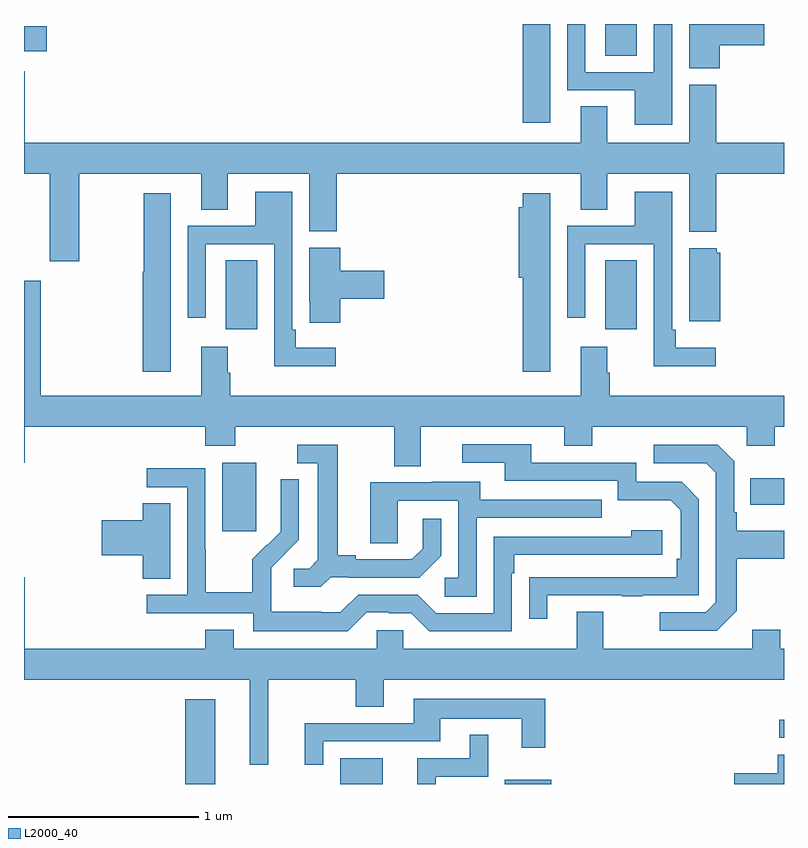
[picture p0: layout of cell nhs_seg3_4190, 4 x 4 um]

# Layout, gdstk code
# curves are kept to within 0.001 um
import gdstk
lib = gdstk.Library(unit=1e-6, precision=1e-09)
def R(c, l, rs):  # rectangles x0, y0, x1, y1
    for r in rs: c.add(gdstk.rectangle(r[:2], r[2:], *l))
def P(c, l, *ps):  # polygons
    for p in ps: c.add(gdstk.Polygon(p, *l))
L2000_40 = (2000, 40)

nhs_seg3_4190 = lib.new_cell('nhs_seg3_4190')
R(nhs_seg3_4190, L2000_40, [(333.848,668.4,334.006,668.845), (334.664,668.4,334.888,668.536), (335.531,668.4,335.776,668.422), (336.975,668.643,337,668.739), (334.043,669.729,334.222,670.09), (336.823,669.869,337,670.009), (334.061,670.794,334.228,671.156), (336.059,670.794,336.226,671.156), (335.624,671.88,335.77,672.4), (336.059,672.232,336.226,672.4), (333,672.257,333.121,672.387)])
P(nhs_seg3_4190, L2000_40, [(336.411,672.4),(336.315,672.4),(336.315,672.147),(335.955,672.147),(335.955,672.4),(335.859,672.4),(335.859,672.051),(336.215,672.051),(336.215,671.87),(336.411,671.87)],
  [(336.662,672.287),(336.895,672.287),(336.895,672.4),(336.5,672.4),(336.5,672.166),(336.662,672.166)],
  [(333.291,671.612),(333.932,671.612),(333.932,671.422),(334.072,671.422),(334.072,671.612),(334.502,671.612),(334.502,671.308),(334.646,671.308),(334.646,671.612),(335.93,671.612),(335.93,671.422),(336.07,671.422),(336.07,671.612),(336.5,671.612),(336.5,671.306),(336.644,671.306),(336.644,671.612),(337,671.612),(337,671.776),(336.644,671.776),(336.644,672.081),(336.5,672.081),(336.5,671.776),(336.07,671.776),(336.07,671.966),(335.93,671.966),(335.93,671.776),(333.004,671.776),(333.004,672.151),(333,672.151),(333,671.612),(333.136,671.612),(333.136,671.151),(333.291,671.151)],
  [(334.642,670.696),(334.429,670.696),(334.429,670.792),(334.413,670.792),(334.413,671.518),(334.217,671.518),(334.217,671.337),(333.861,671.337),(333.861,670.854),(333.957,670.854),(333.957,671.241),(334.317,671.241),(334.317,670.598),(334.642,670.598)],
  [(336.64,670.696),(336.431,670.696),(336.431,670.792),(336.411,670.792),(336.411,671.518),(336.215,671.518),(336.215,671.337),(335.859,671.337),(335.859,670.854),(335.955,670.854),(335.955,671.241),(336.315,671.241),(336.315,670.598),(336.64,670.598)],
  [(333.772,671.509),(333.631,671.509),(333.631,671.096),(333.626,671.096),(333.626,670.569),(333.772,670.569)],
  [(335.77,671.509),(335.624,671.509),(335.624,671.436),(335.603,671.436),(335.603,671.064),(335.624,671.064),(335.624,670.569),(335.77,670.569)],
  [(334.664,670.955),(334.897,670.955),(334.897,671.102),(334.664,671.102),(334.664,671.223),(334.502,671.223),(334.502,670.939),(334.503,670.939),(334.503,670.827),(334.664,670.827)],
  [(336.664,671.196),(336.645,671.196),(336.645,671.221),(336.5,671.221),(336.5,670.835),(336.664,670.835)],
  [(335.089,670.28),(335.843,670.28),(335.843,670.181),(335.991,670.181),(335.991,670.28),(336.804,670.28),(336.804,670.181),(336.951,670.181),(336.951,670.28),(337,670.28),(337,670.444),(336.083,670.444),(336.083,670.565),(336.07,670.565),(336.07,670.702),(335.93,670.702),(335.93,670.444),(334.085,670.444),(334.085,670.565),(334.072,670.565),(334.072,670.702),(333.932,670.702),(333.932,670.444),(333.088,670.444),(333.088,671.05),(333,671.05),(333,670.092),(333.004,670.092),(333.004,670.28),(333.953,670.28),(333.953,670.181),(334.113,670.181),(334.113,670.28),(334.949,670.28),(334.949,670.072),(335.089,670.072)],
  [(335.755,669.393),(336.145,669.393),(336.145,669.388),(336.257,669.388),(336.257,669.393),(336.552,669.393),(336.552,669.9),(336.462,669.99),(336.222,669.99),(336.222,670.092),(335.671,670.092),(335.671,670.188),(335.307,670.188),(335.307,670.092),(335.531,670.092),(335.531,669.996),(336.126,669.996),(336.126,669.893),(336.403,669.893),(336.456,669.84),(336.456,669.586),(336.436,669.586),(336.436,669.489),(335.659,669.488),(335.659,669.27),(335.755,669.27)],
  [(334.614,669.489),(334.708,669.489),(334.708,669.486),(335.08,669.486),(335.196,669.602),(335.196,669.796),(335.099,669.796),(335.099,669.639),(335.042,669.582),(334.747,669.582),(334.747,669.605),(334.651,669.605),(334.651,670.185),(334.437,670.185),(334.437,670.089),(334.547,670.089),(334.547,669.581),(334.5,669.534),(334.419,669.534),(334.419,669.437),(334.562,669.437)],
  [(336.751,669.313),(336.751,669.586),(337,669.586),(337,669.733),(336.751,669.733),(336.751,669.829),(336.738,669.829),(336.738,670.098),(336.651,670.185),(336.315,670.185),(336.315,670.089),(336.591,670.089),(336.642,670.038),(336.642,669.357),(336.588,669.303),(336.345,669.303),(336.345,669.207),(336.645,669.207)],
  [(334.803,669.303),(334.919,669.303),(334.919,669.3),(335.037,669.3),(335.133,669.204),(335.568,669.204),(335.568,669.509),(335.581,669.509),(335.581,669.606),(336.358,669.606),(336.358,669.736),(336.197,669.736),(336.197,669.702),(335.472,669.702),(335.472,669.3),(335.169,669.3),(335.073,669.396),(334.758,669.396),(334.665,669.303),(334.565,669.303),(334.565,669.307),(334.302,669.307),(334.302,669.441),(334.3,669.441),(334.3,669.538),(334.446,669.686),(334.446,670.004),(334.35,670.004),(334.35,669.85),(334.352,669.85),(334.352,669.728),(334.281,669.657),(334.278,669.66),(334.201,669.583),(334.201,669.409),(333.957,669.409),(333.957,669.632),(333.954,669.632),(333.954,670.062),(333.645,670.062),(333.645,669.963),(333.858,669.963),(333.858,669.396),(333.645,669.396),(333.645,669.3),(334.206,669.3),(334.206,669.203),(334.703,669.203)],
  [(335.382,669.801),(336.041,669.801),(336.041,669.897),(335.401,669.897),(335.401,669.991),(335.147,669.991),(335.147,669.987),(334.823,669.987),(334.823,669.667),(334.968,669.667),(334.968,669.891),(335.286,669.891),(335.286,669.486),(335.214,669.486),(335.214,669.385),(335.382,669.385)],
  [(333.769,669.878),(333.626,669.878),(333.626,669.788),(333.408,669.788),(333.408,669.605),(333.626,669.605),(333.626,669.481),(333.769,669.481)],
  [(334.286,668.948),(334.747,668.948),(334.747,668.806),(334.894,668.806),(334.894,668.948),(337,668.948),(337,669.112),(336.981,669.112),(336.981,669.211),(336.833,669.211),(336.833,669.112),(336.049,669.112),(336.049,669.307),(335.909,669.307),(335.909,669.112),(334.995,669.112),(334.995,669.21),(334.857,669.21),(334.857,669.112),(334.105,669.112),(334.105,669.211),(333.953,669.211),(333.953,669.112),(333.004,669.112),(333.004,669.487),(333,669.487),(333,668.948),(334.187,668.948),(334.187,668.502),(334.286,668.502)],
  [(334.575,668.625),(335.191,668.625),(335.191,668.744),(335.621,668.744),(335.621,668.592),(335.743,668.592),(335.743,668.848),(335.051,668.848),(335.051,668.721),(334.478,668.721),(334.478,668.502),(334.575,668.502)],
  [(335.166,668.439),(335.443,668.439),(335.443,668.659),(335.345,668.659),(335.345,668.535),(335.069,668.535),(335.069,668.4),(335.166,668.4)],
  [(337,668.554),(336.968,668.554),(336.968,668.456),(336.738,668.456),(336.738,668.4),(337,668.4)])

lib.write_gds('nhs_seg3_4190.gds')
